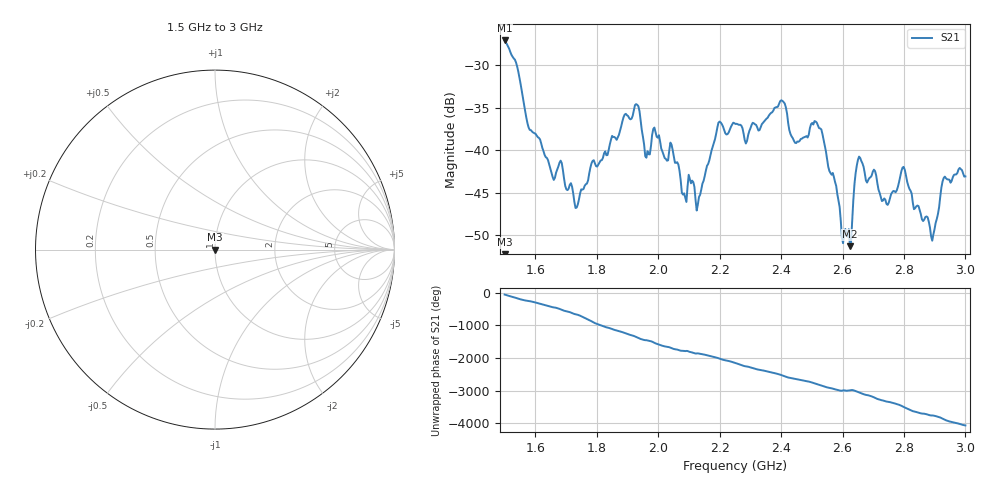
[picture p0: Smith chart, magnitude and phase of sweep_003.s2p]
# HZ S RI R 50
! BoneWave AI live acquisition
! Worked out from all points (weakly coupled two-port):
!   404 points, 1.5 GHz to 3 GHz, reference 50 ohm
!   highest |S21| = -27.09 dB at 1.5 GHz (marker M1); lowest = -51.3 dB at 2.624 GHz (marker M2)
!   lowest |S11| = - dB at 1.5 GHz (marker M3), VSWR 1.00, Z = 50 + j0 ohm
!   |S11| at or under -10 dB: start of sweep to end of sweep
!   S12 and S22 are empty: the file has one direction only
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1.5e9  0 0  0.0231 -0.0377  0 0  0 0
1.656328e9  0 0  0.0005 -0.00695  0 0  0 0
1.753102e9  0 0  0.0055 -0.00203  0 0  0 0
1.92804e9  0 0  0.00148 0.0186  0 0  0 0
1.965261e9  0 0  0.00904 -0.00395  0 0  0 0
2.002481e9  0 0  -0.0106 -0.0061  0 0  0 0
2.129032e9  0 0  0.00261 -0.00401  0 0  0 0
2.19603e9  0 0  -0.013 0.00643  0 0  0 0
2.251861e9  0 0  0.0142 0.00143  0 0  0 0
2.289082e9  0 0  -0.00157 -0.0112  0 0  0 0
2.404467e9  0 0  0.019 -0.00454  0 0  0 0
2.445409e9  0 0  -0.0049 -0.00992  0 0  0 0
2.501241e9  0 0  -0.00914 0.0112  0 0  0 0
2.531017e9  0 0  0.01 0.00868  0 0  0 0
2.601737e9  0 0  -0.00102 -0.00265  0 0  0 0
2.624069e9  0 0  -0.000891 -0.00258  0 0  0 0
2.653846e9  0 0  -0.00913 -0.000904  0 0  0 0
2.75062e9  0 0  -0.00097 -0.00482  0 0  0 0
2.799007e9  0 0  -0.00205 0.00772  0 0  0 0
2.89206e9  0 0  -0.00267 -0.00122  0 0  0 0
2.92928e9  0 0  0.000194 0.00686  0 0  0 0
3e9  0 0  -0.00143 -0.00687  0 0  0 0
